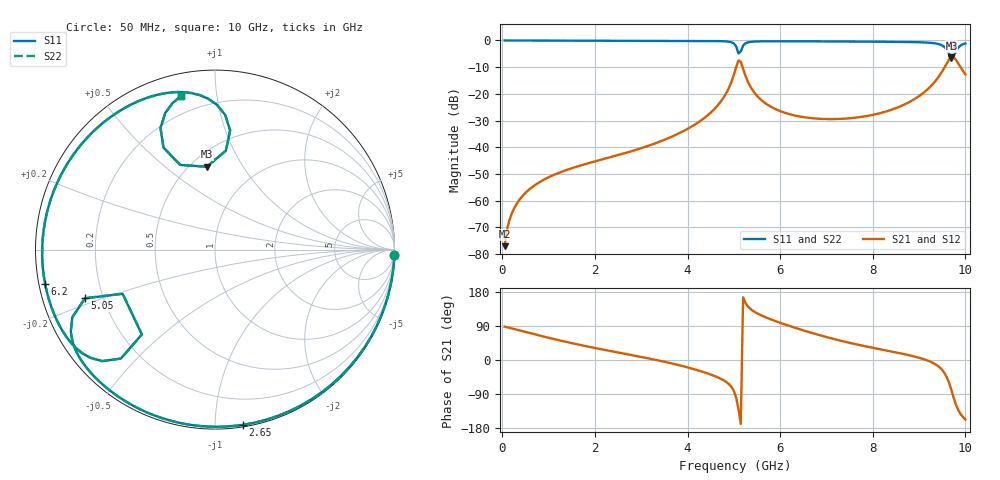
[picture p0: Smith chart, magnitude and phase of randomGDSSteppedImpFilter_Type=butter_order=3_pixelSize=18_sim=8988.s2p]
! freq	dB(S11)	phase(S11)	dB(S12)	phase(S12)
!  dB(S21)	phase(S21)	dB(S22)	phase(S22)
!S-par simulation data
#  GHz  S  DB  R 50
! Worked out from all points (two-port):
!   200 points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, 50 MHz to 10 GHz, reference 50 ohm
!   highest |S21| = -6.27 dB at 9.7 GHz (marker M1); lowest = -77.0 dB at 50 MHz (marker M2)
!   |S21| within 3 dB of the highest: 5.064 GHz to 5.174 GHz (109.8 MHz wide, 2.15 % of centre); 9.575 GHz to 9.87 GHz (294.9 MHz wide, 3.03 % of centre)
!   lowest |S11| = -6.7 dB at 9.7 GHz (marker M3), VSWR 2.73, Z = 30 + j35.3 ohm
!   |S11| at or under -10 dB: nowhere
!   |S22| runs from -6.7 to 0.0 dB; largest |S21 - S12| = 0
!   S11 on the Smith chart (normalised r, x): 50 MHz: 0, -70; 2.65 GHz: 0.01, -1.17; 5.05 GHz: 0.13, -0.18; 6.2 GHz: 0.02, -0.10; 10 GHz: 0.11, +0.80
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0.05  -0.00 -1.6  -77.01 88.1  -77.01 88.1  -0.00 -1.6
0.1  -0.00 -3.2  -70.98 86.6  -70.98 86.6  -0.00 -3.2
0.2  -0.01 -6.5  -64.97 83.5  -64.97 83.5  -0.01 -6.5
0.5  -0.02 -16.0  -57.07 74.0  -57.07 74.0  -0.02 -16.0
1.75  -0.07 -54.9  -46.50 37.9  -46.50 37.9  -0.07 -54.9
2.65  -0.10 -81.1  -42.18 16.4  -42.18 16.4  -0.10 -81.1
3.4  -0.13 -101.8  -37.89 -1.9  -37.89 -1.9  -0.13 -101.8
4.55  -0.21 -133.5  -26.20 -40.6  -26.20 -40.6  -0.21 -133.5
4.85  -0.38 -144.4  -19.27 -59.2  -19.27 -59.2  -0.38 -144.4
5.05  -2.23 -159.5  -9.97 -99.1  -9.97 -99.1  -2.24 -159.5
5.1  -4.87 -154.4  -7.52 -130.2  -7.52 -130.2  -4.88 -154.4
5.15  -4.09 -130.8  -8.00 -168.8  -8.00 -168.8  -4.10 -130.8
5.25  -1.07 -135.4  -13.21 150.9  -13.21 150.9  -1.07 -135.3
5.6  -0.33 -151.9  -22.41 117.3  -22.41 117.3  -0.33 -151.9
6.2  -0.30 -168.7  -27.58 89.8  -27.58 89.8  -0.30 -168.7
6.7  -0.33 178.4  -29.12 70.8  -29.12 70.8  -0.33 178.4
8.35  -0.50 134.0  -26.25 23.6  -26.25 23.6  -0.50 134.0
9.35  -1.10 98.4  -15.24 -11.1  -15.24 -11.1  -1.10 98.4
9.6  -3.49 82.8  -8.49 -45.8  -8.49 -45.8  -3.49 82.8
9.7  -6.68 95.7  -6.27 -80.3  -6.27 -80.3  -6.66 95.7
9.8  -3.91 116.8  -7.33 -119.0  -7.33 -119.0  -3.91 116.7
10  -1.15 102.6  -12.71 -156.8  -12.71 -156.8  -1.15 102.5
